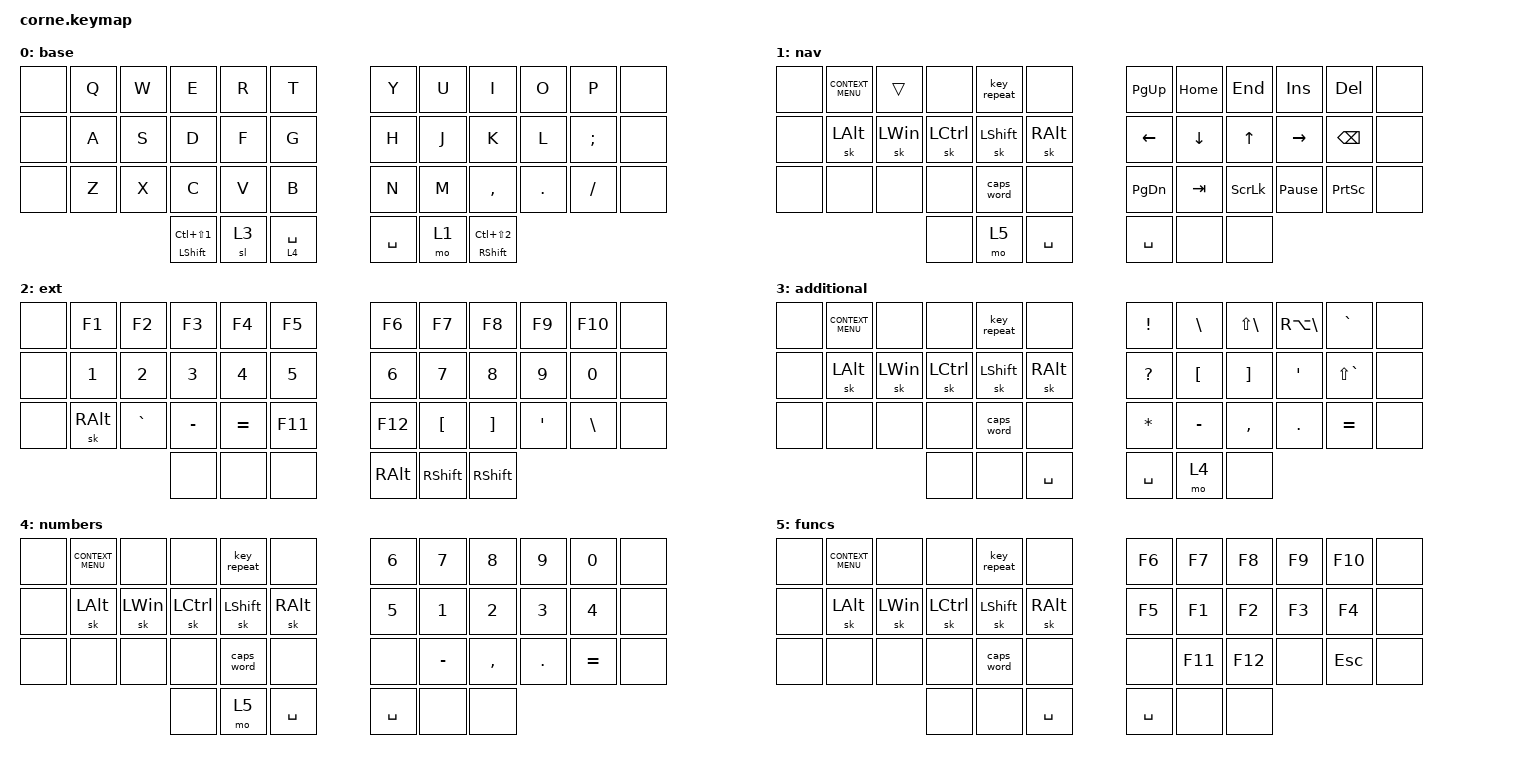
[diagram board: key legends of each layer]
/*
 * Copyright (c) 2020 The ZMK Contributors
 *
 * SPDX-License-Identifier: MIT
 */
/* THIS FILE WAS GENERATED!
 *
 * This file was generated automatically. You may or may not want to
 * edit it directly.
 */

#include <behaviors.dtsi>
#include <dt-bindings/zmk/keys.h>

/ {
    combos {
        compatible = "zmk,combos";

        lock {
            bindings = <&kp LG(L)>;
            key-positions = <39 41>;
            layers = <0>;
            timeout-ms = <50>;
        };

        we2escape {
            bindings = <&kp ESC>;
            key-positions = <2 3>;
            timeout-ms = <20>;
            layers = <0 1 2 3 4 5>;
        };

        io2escape {
            bindings = <&kp ESC>;
            key-positions = <8 9>;
            timeout-ms = <20>;
            layers = <0 1 2 3 4 5>;
        };

        freevmc {
            bindings = <&kp LC(LALT)>;
            key-positions = <36 38>;
            layers = <0>;
            timeout-ms = <50>;
        };

        combotaurus {
            bindings = <&makrotaurus>;
            key-positions = <5 4>;
            timeout-ms = <20>;
            layers = <1>;
        };

        kl2enter {
            bindings = <&kp ENTER>;
            key-positions = <20 21>;
            timeout-ms = <20>;
            layers = <0 1 2 3 4 5>;
        };

        jk2Slenter {
            bindings = <&kp LS(ENTER)>;
            key-positions = <19 20>;
            timeout-ms = <20>;
            layers = <0 1 2 3 4 5>;
        };

        l2Center {
            bindings = <&kp LC(ENTER)>;
            key-positions = <21 22>;
            timeout-ms = <20>;
            layers = <0 1 2 3 4 5>;
        };

        commadot2tab {
            bindings = <&kp TAB>;
            key-positions = <32 33>;
            layers = <0 1 2 3 4 5>;
            timeout-ms = <20>;
        };

        mcomma2shifttab {
            bindings = <&kp LS(TAB)>;
            key-positions = <31 32>;
            layers = <0 1 2 3 4 5>;
            timeout-ms = <20>;
        };

        sd2enter {
            bindings = <&kp ENTER>;
            key-positions = <14 15>;
            timeout-ms = <20>;
            layers = <0>;
        };

        xc2tab {
            bindings = <&kp TAB>;
            key-positions = <26 27>;
            timeout-ms = <20>;
            layers = <0 1 2 3 4 5>;
        };
    };

    macros {
        makrotaurus: makrotaurus {
            compatible = "zmk,behavior-macro";
            label = "new_macro";
            #binding-cells = <0>;
            bindings = <&kp LS(T) &kp A &kp U &kp R &kp U &kp S>;
        };
    };

    keymap {
        compatible = "zmk,keymap";

        base {
            bindings = <
  &none   &kp Q   &kp W                      &kp E   &kp R        &kp T              &kp Y   &kp U                 &kp I    &kp O      &kp P   &none
  &none   &kp A   &kp S                      &kp D   &kp F        &kp G              &kp H   &kp J                 &kp K    &kp L   &kp SEMI   &none
  &none   &kp Z   &kp X                      &kp C   &kp V        &kp B              &kp N   &kp M             &kp COMMA  &kp DOT  &kp SLASH   &none
                         &mt LEFT_SHIFT LC(LS(N1))   &sl 3  &lt 4 SPACE          &kp SPACE   &mo 1  &mt RSHFT LC(LS(N2))
            >;
        };

        nav {
            bindings = <
  &none  &kp K_CONTEXT_MENU    &trans      &none  &key_repeat      &none          &kp PG_UP  &kp HOME         &kp END          &kp INS          &kp DEL   &none
  &none            &sk LALT  &sk LWIN  &sk LCTRL   &sk LSHIFT   &sk RALT           &kp LEFT  &kp DOWN          &kp UP        &kp RIGHT    &kp BACKSPACE   &none
  &none               &none     &none      &none   &caps_word      &none          &kp PG_DN   &kp TAB  &kp SCROLLLOCK  &kp PAUSE_BREAK  &kp PRINTSCREEN   &none
                                           &none        &mo 5  &kp SPACE          &kp SPACE     &none           &none
            >;
        };

        ext {
            bindings = <
  &none    &kp F1     &kp F2     &kp F3     &kp F4   &kp F5            &kp F6     &kp F7           &kp F8   &kp F9        &kp F10   &none
  &none    &kp N1     &kp N2     &kp N3     &kp N4   &kp N5            &kp N6     &kp N7           &kp N8   &kp N9         &kp N0   &none
  &none  &sk RALT  &kp GRAVE  &kp MINUS  &kp EQUAL  &kp F11           &kp F12   &kp LBKT         &kp RBKT  &kp SQT  &kp BACKSLASH   &none
                                  &none      &none    &none          &kp RALT  &kp RSHFT  &kp RIGHT_SHIFT
            >;
        };

        additional {
            bindings = <
  &none  &kp K_CONTEXT_MENU     &none      &none  &key_repeat      &none          &kp EXCLAMATION   &kp BSLH  &kp LS(BSLH)  &kp RA(BACKSLASH)      &kp GRAVE   &none
  &none            &sk LALT  &sk LWIN  &sk LCTRL   &sk LSHIFT   &sk RALT             &kp QUESTION   &kp LBKT      &kp RBKT            &kp SQT  &kp LS(GRAVE)   &none
  &none               &none     &none      &none   &caps_word      &none             &kp ASTERISK  &kp MINUS     &kp COMMA            &kp DOT      &kp EQUAL   &none
                                           &none        &none  &kp SPACE                &kp SPACE      &mo 4         &none
            >;
        };

        numbers {
            bindings = <
  &none  &kp K_CONTEXT_MENU     &none      &none  &key_repeat      &none             &kp N6     &kp N7     &kp N8   &kp N9     &kp N0   &none
  &none            &sk LALT  &sk LWIN  &sk LCTRL    &sk LSHFT   &sk RALT             &kp N5     &kp N1     &kp N2   &kp N3     &kp N4   &none
  &none               &none     &none      &none   &caps_word      &none              &none  &kp MINUS  &kp COMMA  &kp DOT  &kp EQUAL   &none
                                           &none        &mo 5  &kp SPACE          &kp SPACE      &none      &none
            >;
        };

        funcs {
            bindings = <
  &none  &kp K_CONTEXT_MENU     &none      &none  &key_repeat      &none             &kp F6   &kp F7   &kp F8  &kp F9  &kp F10   &none
  &none            &sk LALT  &sk LWIN  &sk LCTRL    &sk LSHFT   &sk RALT             &kp F5   &kp F1   &kp F2  &kp F3   &kp F4   &none
  &none               &none     &none      &none   &caps_word      &none              &none  &kp F11  &kp F12   &none  &kp ESC   &none
                                           &none        &none  &kp SPACE          &kp SPACE    &none    &none
            >;
        };
    };
};
